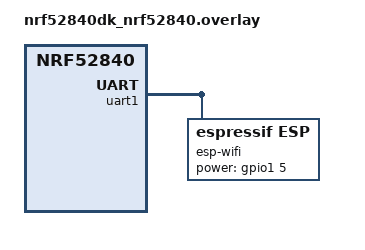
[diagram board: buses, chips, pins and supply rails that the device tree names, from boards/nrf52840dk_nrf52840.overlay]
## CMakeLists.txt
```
# SPDX-License-Identifier: Apache-2.0

cmake_minimum_required(VERSION 3.20.0)

find_package(Zephyr REQUIRED HINTS $ENV{ZEPHYR_BASE})
project(dfu)

target_sources(app PRIVATE src/main.c)
target_sources_ifdef(CONFIG_BOOTLOADER_MCUBOOT_COMPATIBLE app PRIVATE src/flash.c)

if(CONFIG_BUILD_OUTPUT_EXE AND CONFIG_NATIVE_LIBRARY)
  # Arguments to imgtool.
  if(NOT CONFIG_MCUBOOT_EXTRA_IMGTOOL_ARGS STREQUAL "")
    # Separate extra arguments into the proper format for adding to
    # extra_post_build_commands.
    #
    # Use UNIX_COMMAND syntax for uniform results across host
    # platforms.
    separate_arguments(imgtool_extra UNIX_COMMAND ${CONFIG_MCUBOOT_EXTRA_IMGTOOL_ARGS})
  else()
    set(imgtool_extra)
  endif()

  add_custom_command(
    OUTPUT ${CMAKE_CURRENT_BINARY_DIR}/zephyr/${CONFIG_KERNEL_BIN_NAME}.signed.exe
    COMMAND imgtool sign --align=8 --pad-header --header-size=512 --slot-size=8388608 --confirm --version 0.0.0+0 ${imgtool_extra}
    ${CMAKE_CURRENT_BINARY_DIR}/zephyr/${CONFIG_KERNEL_BIN_NAME}.exe
    ${CMAKE_CURRENT_BINARY_DIR}/zephyr/${CONFIG_KERNEL_BIN_NAME}.signed.exe
    DEPENDS native_runner_executable
  )

  add_custom_target(native_runner_signed_executable ALL
    DEPENDS ${CMAKE_CURRENT_BINARY_DIR}/zephyr/${CONFIG_KERNEL_BIN_NAME}.signed.exe
  )
endif()
```

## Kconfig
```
# Copyright (c) 2021 Golioth, Inc.
# SPDX-License-Identifier: Apache-2.0

mainmenu "Golioth application options"

if SETTINGS

config SETTINGS_RUNTIME
	default y

config GOLIOTH_SAMPLE_SETTINGS_AUTOLOAD
	default y

config GOLIOTH_SAMPLE_SETTINGS_SHELL
	default y

endif # SETTINGS

config BOOTLOADER_MCUBOOT_COMPATIBLE
	bool
	default y if BOOTLOADER_MCUBOOT || BOOTLOADER_NATIVE_SIM

config BOOTLOADER_NATIVE_SIM
	bool "Native Simulator bootloader support"
	default y

config MCUBOOT_EXTRA_IMGTOOL_ARGS
	string "Extra arguments to pass to imgtool when signing"
	default ""
	help
	  When signing (CONFIG_MCUBOOT_SIGNATURE_KEY_FILE is a non-empty
	  string) you can use this option to pass extra options to
	  imgtool.  For example, you could set this to "--version 1.2".

source "Kconfig.zephyr"
```

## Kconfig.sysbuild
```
# Copyright (c) 2021-2023 Nordic Semiconductor
# Copyright (c) 2023 Golioth, Inc.
#
# SPDX-License-Identifier: Apache-2.0

choice BOOTLOADER
	# Select Espressif port of MCUboot for all $(west boards -n esp32)
	# boards currently supported in Zephyr.
	default BOOTLOADER_MCUBOOT_ESPRESSIF if \
		"$(BOARD)" = "esp32" || \
		"$(BOARD)" = "esp32_ethernet_kit" || \
		"$(BOARD)" = "esp32_net" || \
		"$(BOARD)" = "esp32c3_devkitm" || \
		"$(BOARD)" = "esp32s2_franzininho" || \
		"$(BOARD)" = "esp32s2_saola" || \
		"$(BOARD)" = "esp32s3_devkitm" || \
		"$(BOARD)" = "olimex_esp32_evb" || \
		"$(BOARD)" = "xiao_esp32c3"
	# Native Simulator
	default BOOTLOADER_MCUBOOT_NATIVE_SIM if \
		"$(BOARD)" = "native_sim"
	# Select Zephyr port of MCUboot for all other cases.
	default BOOTLOADER_MCUBOOT

endchoice

source "share/sysbuild/Kconfig"

choice BOOTLOADER

config BOOTLOADER_MCUBOOT_ESPRESSIF
	bool "MCUboot (Espressif port)"
	help
	  Include MCUboot (Espressif port) as the bootloader to use

config BOOTLOADER_MCUBOOT_NATIVE_SIM
	bool "MCUboot (Native Simulator fake bootloader)"
	depends on "$(BOARD)" = "native_sim"
	help
	  Include MCUboot (Native Simulator fake) as the bootloader to use

endchoice

if BOOTLOADER_MCUBOOT_ESPRESSIF

config SIGNATURE_TYPE
	string
	default NONE if BOOT_SIGNATURE_TYPE_NONE
	default RSA  if BOOT_SIGNATURE_TYPE_RSA
	default ECDSA_P256 if BOOT_SIGNATURE_TYPE_ECDSA_P256
	default ED25519 if BOOT_SIGNATURE_TYPE_ED25519

choice BOOT_SIGNATURE_TYPE
	prompt "Signature type"
	default BOOT_SIGNATURE_TYPE_RSA

config BOOT_SIGNATURE_TYPE_NONE
	bool "No signature; use only hash check"

config BOOT_SIGNATURE_TYPE_RSA
	bool "RSA signatures"

config BOOT_SIGNATURE_TYPE_ECDSA_P256
	bool "Elliptic curve digital signatures with curve P-256"

config BOOT_SIGNATURE_TYPE_ED25519
	bool "Edwards curve digital signatures using ed25519"

endchoice

config BOOT_SIGNATURE_KEY_FILE
	string "PEM key file"
	default "$(ZEPHYR_MCUBOOT_MODULE_DIR)/root-ec-p256.pem" if BOOT_SIGNATURE_TYPE_ECDSA_P256
	default "$(ZEPHYR_MCUBOOT_MODULE_DIR)/root-ed25519.pem" if BOOT_SIGNATURE_TYPE_ED25519
	default "$(ZEPHYR_MCUBOOT_MODULE_DIR)/root-rsa-2048.pem" if BOOT_SIGNATURE_TYPE_RSA
	default ""
	help
	  Absolute path to key file to use with MCUBoot.

endif # BOOTLOADER_MCUBOOT_ESPRESSIF
```

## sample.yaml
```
sample:
  description: Golioth DFU
  name: dfu
common:
  harness: pytest
  tags: golioth socket goliothd
  timeout: 600
tests:
  sample.golioth.dfu.build_only:
    build_only: true
    platform_allow: >
      qemu_x86
  sample.golioth.dfu.sysbuild:
    sysbuild: true
    platform_allow: >
      esp32_devkitc_wroom
      mimxrt1060_evkb
      nrf52840dk_nrf52840
    extra_args:
      dfu_CONFIG_BOOT_DELAY=10000
  sample.golioth.dfu.ncs:
    platform_allow: nrf9160dk_nrf9160_ns
```

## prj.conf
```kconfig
CONFIG_GOLIOTH_SAMPLES_COMMON=y

# Application
CONFIG_GOLIOTH_FW=y

CONFIG_FLASH=y
CONFIG_FLASH_MAP=y
CONFIG_NVS=y
CONFIG_STREAM_FLASH=y
CONFIG_IMG_MANAGER=y
CONFIG_IMG_ERASE_PROGRESSIVELY=y
CONFIG_REBOOT=y

# Firmware version used in DFU process
CONFIG_GOLIOTH_SAMPLE_FW_VERSION="1.2.3"
```

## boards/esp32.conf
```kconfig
# Do not sign image by default, as that rebuild and overwrites signed image
# after it was signed manually (which is what README.rst tells to do).
CONFIG_MCUBOOT_GENERATE_UNSIGNED_IMAGE=n
CONFIG_MCUBOOT_GENERATE_CONFIRMED_IMAGE=n
```

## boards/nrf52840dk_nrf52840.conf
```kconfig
CONFIG_WIFI=y
CONFIG_WIFI_ESP_AT=y
CONFIG_WIFI_ESP_AT_MDM_RX_BUF_COUNT=40

CONFIG_NET_L2_WIFI_SHELL=y
```

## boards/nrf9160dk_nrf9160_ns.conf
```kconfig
# General config
CONFIG_HEAP_MEM_POOL_SIZE=4096
CONFIG_NEWLIB_LIBC=y

# Networking
CONFIG_NET_NATIVE=n
CONFIG_NET_SOCKETS_OFFLOAD=y

# Increase native TLS socket implementation, so that it is chosen instead of
# offloaded nRF91 sockets
CONFIG_NET_SOCKETS_TLS_PRIORITY=35

# LTE link control
CONFIG_LTE_LINK_CONTROL=y
CONFIG_LTE_AUTO_INIT_AND_CONNECT=y

# Modem library
CONFIG_NRF_MODEM_LIB=y

# Disable options y-selected by NCS for no good reason
CONFIG_MBEDTLS_KEY_EXCHANGE_DHE_PSK_ENABLED=n
CONFIG_MBEDTLS_KEY_EXCHANGE_DHE_RSA_ENABLED=n
# ... also increase heap size to "high enough to make it work"
CONFIG_MBEDTLS_HEAP_SIZE=49152

# Generate MCUboot compatible images
CONFIG_BOOTLOADER_MCUBOOT=y
```

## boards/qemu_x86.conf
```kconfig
CONFIG_IMG_MANAGER=n

# There is no persistent storage supported currently with default QEMU configuration
CONFIG_SETTINGS=n
```

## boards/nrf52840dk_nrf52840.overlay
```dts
/*
 * Copyright (C) 2021 Golioth, Inc.
 *
 * SPDX-License-Identifier: Apache-2.0
 */

&uart1 {
	status = "okay";
	cts-pin = <35>;
	rts-pin = <36>;
	hw-flow-control;

	esp_wifi: esp-wifi {
		compatible = "espressif,esp";
		label = "esp-wifi";
		power-gpios = <&gpio1 5 (GPIO_ACTIVE_HIGH | GPIO_OPEN_DRAIN)>;
		status = "okay";
	};
};
```

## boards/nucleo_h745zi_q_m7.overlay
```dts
&flash0 {
	write-block-size = <8>;

	partitions {
		compatible = "fixed-partitions";
		#address-cells = <1>;
		#size-cells = <1>;

		/* 128KB for bootloader */
		boot_partition: partition@0 {
			label = "mcuboot";
			reg = <0x00000000 0x00020000>;
			read-only;
		};

		/* storage: 128KB for settings */
		storage_partition: partition@20000 {
			label = "storage";
			reg = <0x00020000 0x00020000>;
		};

		/* application image slot: 256KB */
		slot0_partition: partition@40000 {
			label = "image-0";
			reg = <0x00040000 0x00040000>;
		};

		/* backup slot: 256KB */
		slot1_partition: partition@80000 {
			label = "image-1";
			reg = <0x00080000 0x00040000>;
		};

		/* swap slot: 128KB */
		scratch_partition: partition@c0000 {
			label = "image-scratch";
			reg = <0x000c0000 0x00020000>;
		};

	};
};
```

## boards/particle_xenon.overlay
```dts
&spi1 { /* feather SPI */
  // W5500 connected over SPI
	compatible = "nordic,nrf-spim";
	status = "okay";
	sck-pin = <47>; //D13
	mosi-pin = <45>; //D14
	miso-pin = <46>; //D11
	cs-gpios = <&gpio1 10 GPIO_ACTIVE_LOW>; //nCS = D5

  w5500: w5500@0 {
    compatible = "wiznet,w5500";
    label = "w5500";
    status = "okay";
    reg = <0x0>;
    spi-max-frequency = <8000000>;
    int-gpios = <&gpio1 8 GPIO_ACTIVE_LOW>;  //nInterrup = D4
		reset-gpios = <&gpio1 2 GPIO_ACTIVE_LOW>; //nReset = D3
  };
};
```

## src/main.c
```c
/*
 * Copyright (c) 2021 Golioth, Inc.
 *
 * SPDX-License-Identifier: Apache-2.0
 */

#include <zephyr/logging/log.h>
LOG_MODULE_REGISTER(golioth_dfu, LOG_LEVEL_DBG);

#include <net/golioth/fw.h>
#include <net/golioth/system_client.h>
#include <samples/common/net_connect.h>

#include <stdlib.h>
#include <stdio.h>
#include <zephyr/logging/log_ctrl.h>
#include <zephyr/net/coap.h>
#include <zephyr/sys/reboot.h>

#include "flash.h"

K_SEM_DEFINE(sem_connected, 0, 1);
K_SEM_DEFINE(sem_downloading, 0, 1);
K_SEM_DEFINE(sem_downloaded, 0, 1);

#define REBOOT_DELAY_SEC	1

static struct golioth_client *client = GOLIOTH_SYSTEM_CLIENT_GET();

struct dfu_ctx {
	struct flash_img_context flash;
	char version[65];
	bool downloading_started;
};

static struct dfu_ctx update_ctx;
static enum golioth_dfu_result dfu_initial_result = GOLIOTH_DFU_RESULT_INITIAL;

static int data_received(struct golioth_req_rsp *rsp)
{
	struct dfu_ctx *dfu = rsp->user_data;
	bool last = rsp->get_next == NULL;
	int err;

	if (rsp->err) {
		LOG_ERR("Error while receiving FW data: %d", rsp->err);
		return 0;
	}

	LOG_DBG("Received %zu bytes at offset %zu%s", rsp->len, rsp->off,
		last ? " (last)" : "");

	if (rsp->off == 0) {
		err = flash_img_prepare(&dfu->flash);
		if (err) {
			return err;
		}
	}

	err = flash_img_buffered_write(&dfu->flash, rsp->data, rsp->len, last);
	if (err) {
		LOG_ERR("Failed to write to flash: %d", err);
		return err;
	}

	if (last) {
		k_sem_give(&sem_downloaded);
	}

	if (rsp->get_next) {
		rsp->get_next(rsp->get_next_data, 0);
	}

	return 0;
}

static uint8_t *uri_strip_leading_slash(uint8_t *uri, size_t *uri_len)
{
	if (*uri_len > 0 && uri[0] == '/') {
		(*uri_len)--;
		return &uri[1];
	}

	return uri;
}

static int golioth_desired_update(struct golioth_req_rsp *rsp)
{
	struct dfu_ctx *dfu = rsp->user_data;
	size_t version_len = sizeof(dfu->version) - 1;
	uint8_t uri[64];
	uint8_t *uri_p;
	size_t uri_len = sizeof(uri);
	int err;

	if (rsp->err) {
		LOG_ERR("Error while receiving desired FW update: %d", rsp->err);
		return 0;
	}

	LOG_HEXDUMP_DBG(rsp->data, rsp->len, "Desired");

	/*
	 * Make sure that we don't start new firmware download and don't overwrite desired version
	 * which is accessed by main thread.
	 */
	if (dfu->downloading_started) {
		LOG_WRN("Ignoring new desired firmware, as downloading already started");
		return 0;
	}

	err = golioth_fw_desired_parse(rsp->data, rsp->len,
				       dfu->version, &version_len,
				       uri, &uri_len);
	switch (err) {
	case 0:
		break;
	case -ENOENT:
		LOG_INF("No release rolled out yet");
		return 0;
	default:
		LOG_ERR("Failed to parse desired version: %d", err);
		return err;
	}

	dfu->version[version_len] = '\0';

	if (version_len == strlen(current_version_str) &&
	    !strncmp(current_version_str, dfu->version, version_len)) {
		LOG_INF("Desired version (%s) matches current firmware version!",
			current_version_str);
		return -EALREADY;
	} else {
		LOG_INF("Server advertises %s as latest version. Beginning download.",
			dfu->version);
	}

	uri_p = uri_strip_leading_slash(uri, &uri_len);

	k_sem_give(&sem_downloading);
	dfu->downloading_started = true;

	err = golioth_fw_download(client, uri_p, uri_len, data_received, dfu);
	if (err) {
		LOG_ERR("Failed to request firmware: %d", err);
		return err;
	}

	return 0;
}

static void golioth_on_connect(struct golioth_client *client)
{
	int err;

	k_sem_give(&sem_connected);

	err = golioth_fw_observe_desired(client, golioth_desired_update, &update_ctx);
	if (err) {
		LOG_ERR("Failed to start observation of desired FW: %d", err);
	}
}

int main(void)
{
	int err;

	LOG_DBG("Start DFU sample");

	if (!boot_is_img_confirmed()) {
		/*
		 * There is no shared context between previous update request
		 * and current boot, so treat current image 'confirmed' flag as
		 * an indication whether previous update process was successful
		 * or not.
		 */
		dfu_initial_result = GOLIOTH_DFU_RESULT_FIRMWARE_UPDATED_SUCCESSFULLY;

		err = boot_write_img_confirmed();
		if (err) {
			LOG_ERR("Failed to confirm image: %d", err);
		}
	}

	net_connect();

	client->on_connect = golioth_on_connect;
	golioth_system_client_start();

	k_sem_take(&sem_connected, K_FOREVER);

	err = golioth_fw_report_state(client, "main",
				      current_version_str,
				      NULL,
				      GOLIOTH_FW_STATE_IDLE,
				      dfu_initial_result);
	if (err) {
		LOG_ERR("Failed to report firmware state: %d", err);
	}

	k_sem_take(&sem_downloading, K_FOREVER);

	err = golioth_fw_report_state(client, "main",
				      current_version_str,
				      update_ctx.version,
				      GOLIOTH_FW_STATE_DOWNLOADING,
				      GOLIOTH_DFU_RESULT_INITIAL);
	if (err) {
		LOG_ERR("Failed to update to '%s' state: %d", "downloading", err);
	}

	k_sem_take(&sem_downloaded, K_FOREVER);

	err = golioth_fw_report_state(client, "main",
				      current_version_str,
				      update_ctx.version,
				      GOLIOTH_FW_STATE_DOWNLOADED,
				      GOLIOTH_DFU_RESULT_INITIAL);
	if (err) {
		LOG_ERR("Failed to update to '%s' state: %d", "downloaded", err);
	}

	err = golioth_fw_report_state(client, "main",
				      current_version_str,
				      update_ctx.version,
				      GOLIOTH_FW_STATE_UPDATING,
				      GOLIOTH_DFU_RESULT_INITIAL);
	if (err) {
		LOG_ERR("Failed to update to '%s' state: %d", "updating", err);
	}

	LOG_INF("Requesting upgrade");

	err = boot_request_upgrade(BOOT_UPGRADE_TEST);
	if (err) {
		LOG_ERR("Failed to request upgrade: %d", err);
		return err;
	}

	LOG_INF("Rebooting in %d second(s)", REBOOT_DELAY_SEC);

	/* Synchronize logs */
	LOG_PANIC();

	k_sleep(K_SECONDS(REBOOT_DELAY_SEC));

	sys_reboot(SYS_REBOOT_COLD);

	return 0;
}
```

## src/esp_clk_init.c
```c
/* Override weak function in hal_espressif */
void esp_clk_init(void)
{
}
```

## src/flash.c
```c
/*
 * Copyright (c) 2021 Golioth, Inc.
 *
 * SPDX-License-Identifier: Apache-2.0
 */

#include <zephyr/logging/log.h>
LOG_MODULE_DECLARE(golioth_dfu);

#include <stdio.h>
#include <zephyr/storage/flash_map.h>

#include "flash.h"

#ifdef CONFIG_TRUSTED_EXECUTION_NONSECURE
#define SLOT0_LABEL	slot0_ns_partition
#else
#define SLOT0_LABEL	slot0_partition
#endif /* CONFIG_TRUSTED_EXECUTION_NONSECURE */

/* FIXED_PARTITION_ID() values used below are auto-generated by DT */
#define FLASH_AREA_IMAGE_PRIMARY FIXED_PARTITION_ID(SLOT0_LABEL)

char current_version_str[sizeof("255.255.65535")];

static int current_version_init(void)
{
	struct mcuboot_img_header hdr;
	int written;
	int err;

	err = boot_read_bank_header(FLASH_AREA_IMAGE_PRIMARY, &hdr, sizeof(hdr));
	if (err) {
		LOG_ERR("Failed to read primary area (%u) header: %d",
			FLASH_AREA_IMAGE_PRIMARY, err);
		return err;
	}

	written = snprintf(current_version_str, sizeof(current_version_str),
			   "%u.%u.%u",
			   (unsigned int) hdr.h.v1.sem_ver.major,
			   (unsigned int) hdr.h.v1.sem_ver.minor,
			   (unsigned int) hdr.h.v1.sem_ver.revision);
	if (written >= sizeof(current_version_str)) {
		LOG_ERR("Version string is too long!");
		current_version_str[0] = '\0';
		return -ENOMEM;
	}

	return 0;
}

SYS_INIT(current_version_init, APPLICATION, CONFIG_APPLICATION_INIT_PRIORITY);

/*
 * @note This is a copy of ERASED_VAL_32() from mcumgr.
 */
#define ERASED_VAL_32(x) (((x) << 24) | ((x) << 16) | ((x) << 8) | (x))

/**
 * Determines if the specified area of flash is completely unwritten.
 *
 * @note This is a copy of zephyr_img_mgmt_flash_check_empty() from mcumgr.
 */
static int flash_area_check_empty(const struct flash_area *fa,
				  bool *out_empty)
{
	uint32_t data[16];
	off_t addr;
	off_t end;
	int bytes_to_read;
	int rc;
	int i;
	uint8_t erased_val;
	uint32_t erased_val_32;

	__ASSERT_NO_MSG(fa->fa_size % 4 == 0);

	erased_val = flash_area_erased_val(fa);
	erased_val_32 = ERASED_VAL_32(erased_val);

	end = fa->fa_size;
	for (addr = 0; addr < end; addr += sizeof(data)) {
		if (end - addr < sizeof(data)) {
			bytes_to_read = end - addr;
		} else {
			bytes_to_read = sizeof(data);
		}

		rc = flash_area_read(fa, addr, data, bytes_to_read);
		if (rc != 0) {
			flash_area_close(fa);
			return rc;
		}

		for (i = 0; i < bytes_to_read / 4; i++) {
			if (data[i] != erased_val_32) {
				*out_empty = false;
				flash_area_close(fa);
				return 0;
			}
		}
	}

	*out_empty = true;

	return 0;
}

static int flash_img_erase_if_needed(struct flash_img_context *ctx)
{
	bool empty;
	int err;

	if (IS_ENABLED(CONFIG_IMG_ERASE_PROGRESSIVELY)) {
		return 0;
	}

	err = flash_area_check_empty(ctx->flash_area, &empty);
	if (err) {
		return err;
	}

	if (empty) {
		return 0;
	}

	err = flash_area_erase(ctx->flash_area, 0, ctx->flash_area->fa_size);
	if (err) {
		return err;
	}

	return 0;
}

static const char *swap_type_str(int swap_type)
{
	switch (swap_type) {
	case BOOT_SWAP_TYPE_NONE:
		return "none";
	case BOOT_SWAP_TYPE_TEST:
		return "test";
	case BOOT_SWAP_TYPE_PERM:
		return "perm";
	case BOOT_SWAP_TYPE_REVERT:
		return "revert";
	case BOOT_SWAP_TYPE_FAIL:
		return "fail";
	}

	return "unknown";
}

int flash_img_prepare(struct flash_img_context *flash)
{
	int swap_type;
	int err;

	swap_type = mcuboot_swap_type();
	switch (swap_type) {
	case BOOT_SWAP_TYPE_REVERT:
		LOG_WRN("'revert' swap type detected, it is not safe to continue");
		return -EBUSY;
	default:
		LOG_INF("swap type: %s", swap_type_str(swap_type));
		break;
	}

	err = flash_img_init(flash);
	if (err) {
		LOG_ERR("failed to init: %d", err);
		return err;
	}

	err = flash_img_erase_if_needed(flash);
	if (err) {
		LOG_ERR("failed to erase: %d", err);
		return err;
	}

	return 0;
}
```

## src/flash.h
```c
/*
 * Copyright (c) 2021 Golioth, Inc.
 *
 * SPDX-License-Identifier: Apache-2.0
 */

#ifndef __APP_FLASH_H__
#define __APP_FLASH_H__

#ifdef CONFIG_BOOTLOADER_MCUBOOT_COMPATIBLE

#include <zephyr/dfu/flash_img.h>
#include <zephyr/dfu/mcuboot.h>
#include <zephyr/types.h>

int flash_img_prepare(struct flash_img_context *flash);

extern char current_version_str[sizeof("255.255.65535")];

#else /* CONFIG_BOOTLOADER_MCUBOOT_COMPATIBLE */

#include <stdbool.h>
#include <stddef.h>
#include <stdint.h>

struct flash_img_context {
	/* empty */
};

static inline int flash_img_prepare(struct flash_img_context *flash)
{
	return 0;
}

static inline
int flash_img_buffered_write(struct flash_img_context *ctx, const uint8_t *data,
			     size_t len, bool flush)
{
	return 0;
}

/** Boot upgrade request modes */
#define BOOT_UPGRADE_TEST       0
#define BOOT_UPGRADE_PERMANENT  1

static inline int boot_request_upgrade(int permanent)
{
	return 0;
}

static inline bool boot_is_img_confirmed(void)
{
	return true;
}

static inline int boot_write_img_confirmed(void)
{
	return 0;
}

static char current_version_str[sizeof("255.255.65535")] = "1.0.0";

#endif /* CONFIG_BOOTLOADER_MCUBOOT_COMPATIBLE */

#endif /* __APP_FLASH_H__ */
```

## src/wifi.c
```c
/*
 * Copyright (c) 2021 Golioth, Inc.
 *
 * SPDX-License-Identifier: Apache-2.0
 */

#include <logging/log.h>
LOG_MODULE_REGISTER(golioth_wifi, LOG_LEVEL_DBG);

#include <net/wifi_mgmt.h>

#include "wifi.h"

struct wifi_data {
	struct net_mgmt_event_callback wifi_mgmt_cb;
	struct k_sem connect_sem;
	int connect_status;
};

static void wifi_mgmt_event_handler(struct net_mgmt_event_callback *cb,
				    uint32_t mgmt_event, struct net_if *iface)
{
	struct wifi_data *wifi = CONTAINER_OF(cb, struct wifi_data, wifi_mgmt_cb);
	const struct wifi_status *status = cb->info;

	LOG_DBG("wifi event: %x", (unsigned int) mgmt_event);

	switch (mgmt_event) {
	case NET_EVENT_WIFI_CONNECT_RESULT:
		wifi->connect_status = status->status;
		k_sem_give(&wifi->connect_sem);
		break;
	default:
		break;
	}
}

void wifi_connect(void)
{
	struct wifi_connect_req_params params = {
		.ssid = CONFIG_GOLIOTH_SAMPLE_WIFI_SSID,
		.ssid_length = sizeof(CONFIG_GOLIOTH_SAMPLE_WIFI_SSID) - 1,
		.psk = CONFIG_GOLIOTH_SAMPLE_WIFI_PSK,
		.psk_length = sizeof(CONFIG_GOLIOTH_SAMPLE_WIFI_PSK) - 1,
		.channel = WIFI_CHANNEL_ANY,
		.security = sizeof(CONFIG_GOLIOTH_SAMPLE_WIFI_PSK) - 1 > 0 ?
			WIFI_SECURITY_TYPE_PSK : WIFI_SECURITY_TYPE_NONE,
	};
	struct wifi_data wifi;
	int err;
	int attempts = 10;

	k_sem_init(&wifi.connect_sem, 0, 1);

	net_mgmt_init_event_callback(&wifi.wifi_mgmt_cb,
				     wifi_mgmt_event_handler,
				     NET_EVENT_WIFI_CONNECT_RESULT);
	net_mgmt_add_event_callback(&wifi.wifi_mgmt_cb);

	while (attempts--) {
		err = net_mgmt(NET_REQUEST_WIFI_CONNECT, net_if_get_default(),
			       &params, sizeof(params));
		if (err == -EALREADY) {
			LOG_INF("Already connected to WiFi");
			break;
		} else if (err) {
			LOG_ERR("Failed to request WiFi connect: %d", err);
			goto retry;
		}

		/* wait for notification from connect request */
		err = k_sem_take(&wifi.connect_sem, K_SECONDS(20));
		if (err) {
			LOG_ERR("Timeout waiting for connection with WiFi");
			goto retry;
		}

		/* verify connect status */
		if (wifi.connect_status == 0) {
			LOG_INF("Successfully connected to WiFi");
			break;
		} else {
			LOG_ERR("Failed to connect to WiFi: %d",
				wifi.connect_status);
			goto retry;
		}

	retry:
		k_sleep(K_SECONDS(5));
	}

	net_mgmt_del_event_callback(&wifi.wifi_mgmt_cb);
}
```
